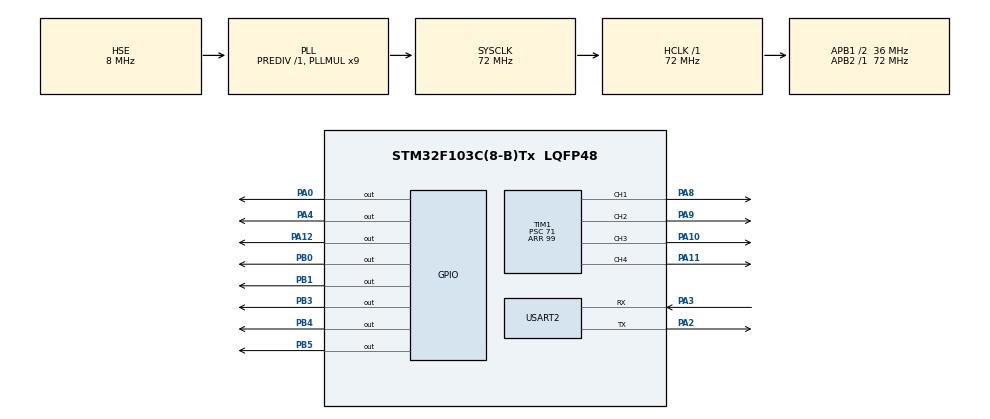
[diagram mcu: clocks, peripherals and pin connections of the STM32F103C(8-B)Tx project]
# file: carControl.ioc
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FREERTOS.Tasks01=Task_driver_mot,2,128,StartTask_driver_motor,Default,NULL,Dynamic,NULL,NULL;myTask_Led,-2,64,StartTask_Led,Default,NULL,Dynamic,NULL,NULL;myTask_Horn,-1,64,StartTask_Horn,Default,NULL,Dynamic,NULL,NULL;Get_Data,3,128,Get_Data_Task,Default,NULL,Dynamic,NULL,NULL
FREERTOS.configMINIMAL_STACK_SIZE=64
FREERTOS.configUSE_TIMERS=1
Mcu.Family=STM32F1
Mcu.Name=STM32F103C(8-B)Tx
Mcu.Package=LQFP48
NVIC.PriorityGroup=NVIC_PRIORITYGROUP_4
NVIC.TIM4_IRQn=true\:15\:0\:false\:false\:true\:false\:false\:true\:true
NVIC.TimeBase=TIM4_IRQn
NVIC.TimeBaseIP=TIM4
NVIC.USART2_IRQn=true\:5\:0\:false\:false\:true\:true\:true\:true\:true
PA0-WKUP.GPIO_PuPd=GPIO_PULLDOWN
PA0-WKUP.GPIO_Speed=GPIO_SPEED_FREQ_HIGH
PA0-WKUP.Signal=GPIO_Output
PA10.Signal=S_TIM1_CH3
PA11.Signal=S_TIM1_CH4
PA12.GPIO_PuPd=GPIO_PULLUP
PA12.GPIO_Speed=GPIO_SPEED_FREQ_HIGH
PA12.PinState=GPIO_PIN_SET
PA12.Signal=GPIO_Output
PA13.Mode=Serial_Wire
PA13.Signal=SYS_JTMS-SWDIO
PA14.Mode=Serial_Wire
PA14.Signal=SYS_JTCK-SWCLK
PA2.Mode=Asynchronous
PA2.Signal=USART2_TX
PA3.Mode=Asynchronous
PA3.Signal=USART2_RX
PA4.GPIO_PuPd=GPIO_PULLDOWN
PA4.GPIO_Speed=GPIO_SPEED_FREQ_HIGH
PA4.Signal=GPIO_Output
PA8.Signal=S_TIM1_CH1
PA9.Signal=S_TIM1_CH2
PB0.PinState=GPIO_PIN_RESET
PB0.Signal=GPIO_Output
PB1.PinState=GPIO_PIN_RESET
PB1.Signal=GPIO_Output
PB3.GPIO_PuPd=GPIO_PULLDOWN
PB3.GPIO_Speed=GPIO_SPEED_FREQ_HIGH
PB3.Signal=GPIO_Output
PB4.GPIO_PuPd=GPIO_PULLDOWN
PB4.GPIO_Speed=GPIO_SPEED_FREQ_HIGH
PB4.PinState=GPIO_PIN_RESET
PB4.Signal=GPIO_Output
PB5.GPIO_PuPd=GPIO_PULLDOWN
PB5.GPIO_Speed=GPIO_SPEED_FREQ_HIGH
PB5.Signal=GPIO_Output
PD0-OSC_IN.Mode=HSE-External-Oscillator
PD0-OSC_IN.Signal=RCC_OSC_IN
PD1-OSC_OUT.Mode=HSE-External-Oscillator
PD1-OSC_OUT.Signal=RCC_OSC_OUT
ProjectManager.HeapSize=0x200
ProjectManager.StackSize=0x400
ProjectManager.TargetToolchain=MDK-ARM V5.32
RCC.AHBFreq_Value=72000000
RCC.APB1CLKDivider=RCC_HCLK_DIV2
RCC.APB1Freq_Value=36000000
RCC.APB1TimFreq_Value=72000000
RCC.APB2Freq_Value=72000000
RCC.APB2TimFreq_Value=72000000
RCC.HCLKFreq_Value=72000000
RCC.PLLMUL=RCC_PLL_MUL9
RCC.PLLSourceVirtual=RCC_PLLSOURCE_HSE
RCC.SYSCLKFreq_VALUE=72000000
RCC.SYSCLKSource=RCC_SYSCLKSOURCE_PLLCLK
RCC.USBFreq_Value=72000000
SH.S_TIM1_CH1.0=TIM1_CH1,PWM Generation1 CH1
SH.S_TIM1_CH2.0=TIM1_CH2,PWM Generation2 CH2
SH.S_TIM1_CH3.0=TIM1_CH3,PWM Generation3 CH3
SH.S_TIM1_CH4.0=TIM1_CH4,PWM Generation4 CH4
TIM1.Channel-PWM\ Generation1\ CH1=TIM_CHANNEL_1
TIM1.Channel-PWM\ Generation2\ CH2=TIM_CHANNEL_2
TIM1.Channel-PWM\ Generation3\ CH3=TIM_CHANNEL_3
TIM1.Channel-PWM\ Generation4\ CH4=TIM_CHANNEL_4
TIM1.Period=99
TIM1.Prescaler=71
USART2.VirtualMode=VM_ASYNC
VP_FREERTOS_VS_CMSIS_V1.Mode=CMSIS_V1
VP_SYS_VS_tim4.Mode=TIM4
VP_TIM1_VS_ClockSourceINT.Mode=Internal
board=custom

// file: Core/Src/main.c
/* USER CODE BEGIN Header */
/**
  ******************************************************************************
  * @file           : main.c
  * @brief          : Main program body
  ******************************************************************************
  * @attention
  *
  * Copyright (c) 2025 STMicroelectronics.
  * All rights reserved.
  *
  * This software is licensed under terms that can be found in the LICENSE file
  * in the root directory of this software component.
  * If no LICENSE file comes with this software, it is provided AS-IS.
  *
  ******************************************************************************
  */
/* USER CODE END Header */
#include "main.h"
#include "cmsis_os.h"

/* USER CODE BEGIN Includes */
#include <stdio.h>
#include <string.h>

/* USER CODE END Includes */

/* USER CODE BEGIN PTD */

typedef union {
    struct {
        int speed;
        char direction[4];
        int lights;
        int horn;
    } data;
    uint8_t buffer[sizeof(int) + 4 + sizeof(int) * 2];
} CarControl;

typedef struct {
    uint8_t type;
    CarControl control;
} CarMessage;

uint8_t rxBuffer[sizeof(CarMessage)];
CarMessage *receveing = (CarMessage*)rxBuffer;
/* USER CODE END PTD */

/* USER CODE BEGIN PD */

#define EVENT0 (1UL << 0)
#define EVENT1 (1UL << 1)
#define EVENT2 (1UL << 2)
#define EVENT3 (1UL << 3)
#define EVENT4 (1UL << 4)

/* USER CODE END PD */

TIM_HandleTypeDef htim1;

UART_HandleTypeDef huart2;

osThreadId Task_driver_motHandle;
osThreadId myTask_LedHandle;
osThreadId myTask_HornHandle;
osThreadId Get_DataHandle;
/* USER CODE BEGIN PV */

EventGroupHandle_t MyEventGroupHandle;
EventBits_t BitsToWaitFor;

/* USER CODE END PV */

void SystemClock_Config(void);
static void MX_GPIO_Init(void);
static void MX_USART2_UART_Init(void);
static void MX_TIM1_Init(void);
void StartTask_driver_motor(void const * argument);
void StartTask_Led(void const * argument);
void StartTask_Horn(void const * argument);
void Get_Data_Task(void const * argument);

int main(void)
{

  /* MCU Configuration--------------------------------------------------------*/

  /* Reset of all peripherals, Initializes the Flash interface and the Systick. */
  HAL_Init();

  /* Configure the system clock */
  SystemClock_Config();

  /* Initialize all configured peripherals */
  MX_GPIO_Init();
  MX_USART2_UART_Init();
  MX_TIM1_Init();
  /* USER CODE BEGIN 2 */
	HAL_UART_Receive_IT(&huart2, rxBuffer, sizeof(rxBuffer));
  /* USER CODE END 2 */

  /* Create the thread(s) */
  /* definition and creation of Task_driver_mot */
  osThreadDef(Task_driver_mot, StartTask_driver_motor, osPriorityHigh, 0, 128);
  Task_driver_motHandle = osThreadCreate(osThread(Task_driver_mot), NULL);

  /* definition and creation of myTask_Led */
  osThreadDef(myTask_Led, StartTask_Led, osPriorityLow, 0, 64);
  myTask_LedHandle = osThreadCreate(osThread(myTask_Led), NULL);

  /* definition and creation of myTask_Horn */
  osThreadDef(myTask_Horn, StartTask_Horn, osPriorityBelowNormal, 0, 64);
  myTask_HornHandle = osThreadCreate(osThread(myTask_Horn), NULL);

  /* definition and creation of Get_Data */
  osThreadDef(Get_Data, Get_Data_Task, osPriorityRealtime, 0, 128);
  Get_DataHandle = osThreadCreate(osThread(Get_Data), NULL);

  /* Start scheduler */
  osKernelStart();

  /* We should never get here as control is now taken by the scheduler */

  /* Infinite loop */
  while (1)
  {

  }
}

void SystemClock_Config(void)
{
  RCC_OscInitTypeDef RCC_OscInitStruct = {0};
  RCC_ClkInitTypeDef RCC_ClkInitStruct = {0};

  /** Initializes the RCC Oscillators according to the specified parameters
  * in the RCC_OscInitTypeDef structure.
  */
  RCC_OscInitStruct.OscillatorType = RCC_OSCILLATORTYPE_HSE;
  RCC_OscInitStruct.HSEState = RCC_HSE_ON;
  RCC_OscInitStruct.HSEPredivValue = RCC_HSE_PREDIV_DIV1;
  RCC_OscInitStruct.HSIState = RCC_HSI_ON;
  RCC_OscInitStruct.PLL.PLLState = RCC_PLL_ON;
  RCC_OscInitStruct.PLL.PLLSource = RCC_PLLSOURCE_HSE;
  RCC_OscInitStruct.PLL.PLLMUL = RCC_PLL_MUL9;
  if (HAL_RCC_OscConfig(&RCC_OscInitStruct) != HAL_OK)
  {
    Error_Handler();
  }

  /** Initializes the CPU, AHB and APB buses clocks
  */
  RCC_ClkInitStruct.ClockType = RCC_CLOCKTYPE_HCLK|RCC_CLOCKTYPE_SYSCLK
                              |RCC_CLOCKTYPE_PCLK1|RCC_CLOCKTYPE_PCLK2;
  RCC_ClkInitStruct.SYSCLKSource = RCC_SYSCLKSOURCE_PLLCLK;
  RCC_ClkInitStruct.AHBCLKDivider = RCC_SYSCLK_DIV1;
  RCC_ClkInitStruct.APB1CLKDivider = RCC_HCLK_DIV2;
  RCC_ClkInitStruct.APB2CLKDivider = RCC_HCLK_DIV1;

  if (HAL_RCC_ClockConfig(&RCC_ClkInitStruct, FLASH_LATENCY_2) != HAL_OK)
  {
    Error_Handler();
  }
}

static void MX_TIM1_Init(void)
{

  TIM_ClockConfigTypeDef sClockSourceConfig = {0};
  TIM_MasterConfigTypeDef sMasterConfig = {0};
  TIM_OC_InitTypeDef sConfigOC = {0};
  TIM_BreakDeadTimeConfigTypeDef sBreakDeadTimeConfig = {0};

  htim1.Instance = TIM1;
  htim1.Init.Prescaler = 71;
  htim1.Init.CounterMode = TIM_COUNTERMODE_UP;
  htim1.Init.Period = 99;
  htim1.Init.ClockDivision = TIM_CLOCKDIVISION_DIV1;
  htim1.Init.RepetitionCounter = 0;
  htim1.Init.AutoReloadPreload = TIM_AUTORELOAD_PRELOAD_DISABLE;
  if (HAL_TIM_Base_Init(&htim1) != HAL_OK)
  {
    Error_Handler();
  }
  sClockSourceConfig.ClockSource = TIM_CLOCKSOURCE_INTERNAL;
  if (HAL_TIM_ConfigClockSource(&htim1, &sClockSourceConfig) != HAL_OK)
  {
    Error_Handler();
  }
  if (HAL_TIM_PWM_Init(&htim1) != HAL_OK)
  {
    Error_Handler();
  }
  sMasterConfig.MasterOutputTrigger = TIM_TRGO_RESET;
  sMasterConfig.MasterSlaveMode = TIM_MASTERSLAVEMODE_DISABLE;
  if (HAL_TIMEx_MasterConfigSynchronization(&htim1, &sMasterConfig) != HAL_OK)
  {
    Error_Handler();
  }
  sConfigOC.OCMode = TIM_OCMODE_PWM1;
  sConfigOC.Pulse = 0;
  sConfigOC.OCPolarity = TIM_OCPOLARITY_HIGH;
  sConfigOC.OCNPolarity = TIM_OCNPOLARITY_HIGH;
  sConfigOC.OCFastMode = TIM_OCFAST_DISABLE;
  sConfigOC.OCIdleState = TIM_OCIDLESTATE_RESET;
  sConfigOC.OCNIdleState = TIM_OCNIDLESTATE_RESET;
  if (HAL_TIM_PWM_ConfigChannel(&htim1, &sConfigOC, TIM_CHANNEL_1) != HAL_OK)
  {
    Error_Handler();
  }
  if (HAL_TIM_PWM_ConfigChannel(&htim1, &sConfigOC, TIM_CHANNEL_2) != HAL_OK)
  {
    Error_Handler();
  }
  if (HAL_TIM_PWM_ConfigChannel(&htim1, &sConfigOC, TIM_CHANNEL_3) != HAL_OK)
  {
    Error_Handler();
  }
  if (HAL_TIM_PWM_ConfigChannel(&htim1, &sConfigOC, TIM_CHANNEL_4) != HAL_OK)
  {
    Error_Handler();
  }
  sBreakDeadTimeConfig.OffStateRunMode = TIM_OSSR_DISABLE;
  sBreakDeadTimeConfig.OffStateIDLEMode = TIM_OSSI_DISABLE;
  sBreakDeadTimeConfig.LockLevel = TIM_LOCKLEVEL_OFF;
  sBreakDeadTimeConfig.DeadTime = 0;
  sBreakDeadTimeConfig.BreakState = TIM_BREAK_DISABLE;
  sBreakDeadTimeConfig.BreakPolarity = TIM_BREAKPOLARITY_HIGH;
  sBreakDeadTimeConfig.AutomaticOutput = TIM_AUTOMATICOUTPUT_DISABLE;
  if (HAL_TIMEx_ConfigBreakDeadTime(&htim1, &sBreakDeadTimeConfig) != HAL_OK)
  {
    Error_Handler();
  }
  HAL_TIM_MspPostInit(&htim1);

}

static void MX_USART2_UART_Init(void)
{

  huart2.Instance = USART2;
  huart2.Init.BaudRate = 115200;
  huart2.Init.WordLength = UART_WORDLENGTH_8B;
  huart2.Init.StopBits = UART_STOPBITS_1;
  huart2.Init.Parity = UART_PARITY_NONE;
  huart2.Init.Mode = UART_MODE_TX_RX;
  huart2.Init.HwFlowCtl = UART_HWCONTROL_NONE;
  huart2.Init.OverSampling = UART_OVERSAMPLING_16;
  if (HAL_UART_Init(&huart2) != HAL_OK)
  {
    Error_Handler();
  }

}

static void MX_GPIO_Init(void)
{
  GPIO_InitTypeDef GPIO_InitStruct = {0};

  /* GPIO Ports Clock Enable */
  __HAL_RCC_GPIOD_CLK_ENABLE();
  __HAL_RCC_GPIOA_CLK_ENABLE();
  __HAL_RCC_GPIOB_CLK_ENABLE();

  /*Configure GPIO pin Output Level */
  HAL_GPIO_WritePin(GPIOA, GPIO_PIN_0|GPIO_PIN_4, GPIO_PIN_RESET);

  /*Configure GPIO pin Output Level */
  HAL_GPIO_WritePin(GPIOB, GPIO_PIN_0|GPIO_PIN_1|GPIO_PIN_3|GPIO_PIN_4
                          |GPIO_PIN_5, GPIO_PIN_RESET);

  /*Configure GPIO pin Output Level */
  HAL_GPIO_WritePin(GPIOA, GPIO_PIN_12, GPIO_PIN_SET);

  /*Configure GPIO pins : PA0 PA4 */
  GPIO_InitStruct.Pin = GPIO_PIN_0|GPIO_PIN_4;
  GPIO_InitStruct.Mode = GPIO_MODE_OUTPUT_PP;
  GPIO_InitStruct.Pull = GPIO_PULLDOWN;
  GPIO_InitStruct.Speed = GPIO_SPEED_FREQ_HIGH;
  HAL_GPIO_Init(GPIOA, &GPIO_InitStruct);

  /*Configure GPIO pins : PB0 PB1 */
  GPIO_InitStruct.Pin = GPIO_PIN_0|GPIO_PIN_1;
  GPIO_InitStruct.Mode = GPIO_MODE_OUTPUT_PP;
  GPIO_InitStruct.Pull = GPIO_NOPULL;
  GPIO_InitStruct.Speed = GPIO_SPEED_FREQ_LOW;
  HAL_GPIO_Init(GPIOB, &GPIO_InitStruct);

  /*Configure GPIO pin : PA12 */
  GPIO_InitStruct.Pin = GPIO_PIN_12;
  GPIO_InitStruct.Mode = GPIO_MODE_OUTPUT_PP;
  GPIO_InitStruct.Pull = GPIO_PULLUP;
  GPIO_InitStruct.Speed = GPIO_SPEED_FREQ_HIGH;
  HAL_GPIO_Init(GPIOA, &GPIO_InitStruct);

  /*Configure GPIO pins : PB3 PB4 PB5 */
  GPIO_InitStruct.Pin = GPIO_PIN_3|GPIO_PIN_4|GPIO_PIN_5;
  GPIO_InitStruct.Mode = GPIO_MODE_OUTPUT_PP;
  GPIO_InitStruct.Pull = GPIO_PULLDOWN;
  GPIO_InitStruct.Speed = GPIO_SPEED_FREQ_HIGH;
  HAL_GPIO_Init(GPIOB, &GPIO_InitStruct);

}

/* USER CODE BEGIN 4 */

void HAL_UART_RxCpltCallback(UART_HandleTypeDef *huart){
	if (huart->Instance == USART2) {
		if(receveing->type == 0x01){
			BaseType_t xHigher = xTaskResumeFromISR(Get_DataHandle);
			portEND_SWITCHING_ISR(xHigher);
		}
  }
	HAL_UART_Receive_IT(&huart2, rxBuffer, sizeof(rxBuffer));
}

void Change_PWM_Mode(uint8_t channel, uint8_t mode) {
    if (channel == 1) {
        TIM1->CCMR1 &= ~(7 << TIM_CCMR1_OC1M_Pos);
        TIM1->CCMR1 |= (mode << TIM_CCMR1_OC1M_Pos);
    } else if (channel == 2) {
        TIM1->CCMR1 &= ~(7 << TIM_CCMR1_OC2M_Pos);
        TIM1->CCMR1 |= (mode << TIM_CCMR1_OC2M_Pos);
    } else if (channel == 3) {
        TIM1->CCMR2 &= ~(7 << TIM_CCMR2_OC3M_Pos);
        TIM1->CCMR2 |= (mode << TIM_CCMR2_OC3M_Pos);
    } else if (channel == 4) {
        TIM1->CCMR2 &= ~(7 << TIM_CCMR2_OC4M_Pos);
        TIM1->CCMR2 |= (mode << TIM_CCMR2_OC4M_Pos);
    }
}

/* USER CODE END 4 */

void StartTask_driver_motor(void const * argument)
{
  /* USER CODE BEGIN 5 */
	MyEventGroupHandle = xEventGroupCreate();
	//TIM1->CCMR1 = receveing->control.data.speed;
  /* Infinite loop */
  for(;;)
  {
		BitsToWaitFor = xEventGroupWaitBits(MyEventGroupHandle,EVENT0|EVENT1|EVENT2|EVENT3|EVENT4,pdTRUE,pdFALSE,osWaitForever);
		if((BitsToWaitFor & EVENT0) != 0){

			Change_PWM_Mode(2, 6);
			Change_PWM_Mode(4, 6);
			TIM1->CCR2 = receveing->control.data.speed;
			TIM1->CCR4 = receveing->control.data.speed;
			HAL_TIM_PWM_Start(&htim1,TIM_CHANNEL_2);
			HAL_TIM_PWM_Start(&htim1,TIM_CHANNEL_4);
			HAL_TIM_PWM_Stop(&htim1,TIM_CHANNEL_1);
			HAL_TIM_PWM_Stop(&htim1,TIM_CHANNEL_3);
		}
		else if((BitsToWaitFor & EVENT1) != 0){
			Change_PWM_Mode(1, 6);
			Change_PWM_Mode(3, 6);
			TIM1->CCR1 = receveing->control.data.speed;
			TIM1->CCR3 = receveing->control.data.speed;
			HAL_TIM_PWM_Start(&htim1,TIM_CHANNEL_1);
			HAL_TIM_PWM_Stop(&htim1,TIM_CHANNEL_2);
			HAL_TIM_PWM_Stop(&htim1,TIM_CHANNEL_4);
			HAL_TIM_PWM_Start(&htim1,TIM_CHANNEL_3);
		}
		else if((BitsToWaitFor & EVENT2) != 0){
			Change_PWM_Mode(2, 6);
			Change_PWM_Mode(1, 7);
			TIM1->CCR1 = 95;
			TIM1->CCR2 = 95;
			HAL_TIM_PWM_Start(&htim1,TIM_CHANNEL_2);
			HAL_TIM_PWM_Start(&htim1,TIM_CHANNEL_1);
			HAL_TIM_PWM_Stop(&htim1,TIM_CHANNEL_3);
			HAL_TIM_PWM_Stop(&htim1,TIM_CHANNEL_4);
		}
		else if((BitsToWaitFor & EVENT3) != 0){
			Change_PWM_Mode(3, 7);
			Change_PWM_Mode(4, 6);
			TIM1->CCR3 = 95;
			TIM1->CCR4 = 95;
			HAL_TIM_PWM_Start(&htim1,TIM_CHANNEL_3);
			HAL_TIM_PWM_Start(&htim1,TIM_CHANNEL_4);

		}
		else if((BitsToWaitFor & EVENT4) != 0){
			HAL_TIM_PWM_Stop(&htim1,TIM_CHANNEL_1);
			HAL_TIM_PWM_Stop(&htim1,TIM_CHANNEL_2);
			HAL_TIM_PWM_Stop(&htim1,TIM_CHANNEL_3);
			HAL_TIM_PWM_Stop(&htim1,TIM_CHANNEL_4);
		}

    osDelay(1);
  }
  /* USER CODE END 5 */
}

void StartTask_Led(void const * argument)
{
  /* USER CODE BEGIN StartTask_Led */
  /* Infinite loop */
  for(;;)
  {
		GPIOB->ODR |= (1<<0);
		GPIOB->ODR &= ~(1<<1);
		osDelay(75);
		GPIOB->ODR &= ~(1<<0);
		GPIOB->ODR |= (1<<1);
		osDelay(75);
  }
  /* USER CODE END StartTask_Led */
}

void StartTask_Horn(void const * argument)
{
  /* USER CODE BEGIN StartTask_Horn */
  /* Infinite loop */
  for(;;)
  {
		if(receveing->control.data.horn == 0){
			HAL_GPIO_WritePin(GPIOA,GPIO_PIN_12,1);
		}
		else if(receveing->control.data.horn == 1){
			HAL_GPIO_WritePin(GPIOA,GPIO_PIN_12,0);
		}
		else if(receveing->control.data.speed <= 20){

		}
		osDelay(1);
  }
  /* USER CODE END StartTask_Horn */
}

void Get_Data_Task(void const * argument)
{
  /* USER CODE BEGIN Get_Data_Task */
  /* Infinite loop */
  for(;;)
  {
		vTaskSuspend(NULL);
		if(!strcmp(receveing->control.data.direction,"up")){
			xEventGroupSetBits(MyEventGroupHandle,EVENT0);
		}
		else if(!strcmp(receveing->control.data.direction,"down")){
			xEventGroupSetBits(MyEventGroupHandle,EVENT1);
		}
		else if(!strcmp(receveing->control.data.direction,"left")){
			xEventGroupSetBits(MyEventGroupHandle,EVENT2);
		}
		else if(!strcmp(receveing->control.data.direction,"righ")){
			xEventGroupSetBits(MyEventGroupHandle,EVENT3);
		}
		else if(!strcmp(receveing->control.data.direction,"stop")){
			xEventGroupSetBits(MyEventGroupHandle,EVENT4);
		}

    osDelay(1);
  }
  /* USER CODE END Get_Data_Task */
}

void HAL_TIM_PeriodElapsedCallback(TIM_HandleTypeDef *htim)
{
  if (htim->Instance == TIM4) {
    HAL_IncTick();
  }
}

void Error_Handler(void)
{
  __disable_irq();
  while (1)
  {
  }
}
